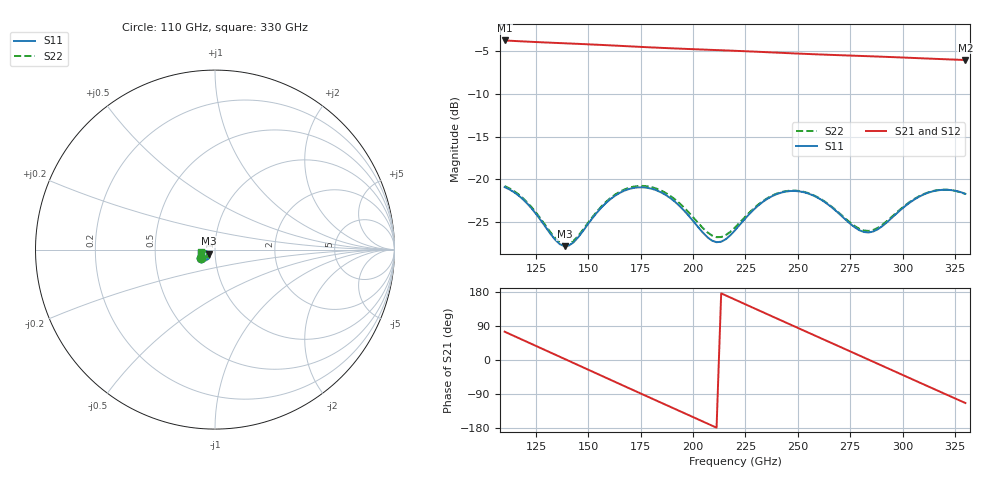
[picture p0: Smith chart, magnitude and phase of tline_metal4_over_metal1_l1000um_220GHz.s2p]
#  GHZ S DB R 50
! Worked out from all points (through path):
!   101 points, 110 GHz to 330 GHz, reference 50 ohm
!   highest |S21| = -3.72 dB at 110 GHz (marker M1); lowest = -6.0 dB at 330 GHz (marker M2)
!   group delay of S21, straight-line fit = 6.92 ps
!   lowest |S11| = -27.8 dB at 138.6 GHz (marker M3), VSWR 1.08, Z = 46.7 - j2.06 ohm
!   |S11| at or under -10 dB: start of sweep to end of sweep
!   |S22| runs from -27.6 to -20.8 dB; largest |S21 - S12| = 7.2e-14
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110  -20.91 -148.3  -3.72 74.7  -3.72 74.7  -20.79 -147.2
125.4  -24.17 -165.7  -3.91 36.1  -3.91 36.1  -24.01 -164.5
138.6  -27.83 -147.1  -4.05 2.9  -4.05 2.9  -27.63 -146.3
147.4  -26.06 -127.4  -4.15 -19.2  -4.15 -19.2  -25.91 -126.7
158.4  -22.77 -128.7  -4.27 -46.9  -4.27 -46.9  -22.64 -127.8
167.2  -21.32 -139.2  -4.38 -68.9  -4.38 -68.9  -21.18 -138.0
176  -20.93 -151.7  -4.49 -90.9  -4.49 -90.9  -20.76 -150.4
184.8  -21.53 -163.8  -4.59 -112.9  -4.59 -112.9  -21.32 -162.2
202.4  -25.59 -172.3  -4.77 -156.7  -4.77 -156.7  -25.10 -170.9
211.2  -27.36 -156.2  -4.85 -178.6  -4.85 -178.6  -26.77 -156.7
220  -25.97 -138.5  -4.93 159.4  -4.93 159.4  -25.64 -140.4
231  -23.08 -137.6  -5.05 131.9  -5.05 131.9  -22.97 -138.9
239.8  -21.74 -145.9  -5.15 110.0  -5.15 110.0  -21.68 -146.6
248.6  -21.36 -156.3  -5.24 88.2  -5.24 88.2  -21.31 -156.6
257.4  -21.89 -166.1  -5.33 66.3  -5.33 66.3  -21.84 -166.1
268.4  -23.74 -172.8  -5.44 39.1  -5.44 39.1  -23.65 -172.4
277.2  -25.62 -167.8  -5.51 17.3  -5.51 17.3  -25.48 -167.4
286  -26.11 -152.9  -5.59 -4.6  -5.59 -4.6  -25.93 -153.0
294.8  -24.53 -142.8  -5.67 -26.4  -5.67 -26.4  -24.40 -143.2
312.4  -21.55 -150.8  -5.85 -70.1  -5.85 -70.1  -21.51 -151.2
321.2  -21.22 -159.9  -5.93 -91.8  -5.93 -91.8  -21.22 -160.2
330  -21.69 -168.5  -6.01 -113.5  -6.01 -113.5  -21.73 -168.8
